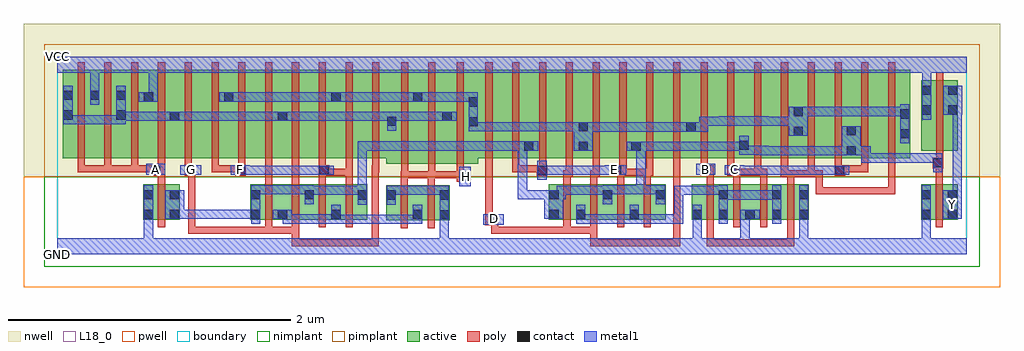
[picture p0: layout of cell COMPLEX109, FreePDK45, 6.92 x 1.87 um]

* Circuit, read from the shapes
.subckt COMPLEX109 A B C D E F G GND H VCC Y
M1 n1 A GND VSUBS nfet w=0.25u l=0.05u
M2 n2 G n1 VSUBS nfet w=0.25u l=0.05u m=2
M3 n2 F n1 VSUBS nfet w=0.25u l=0.05u m=2
M4 n2 H GND VSUBS nfet w=0.25u l=0.05u m=2
M5 n3 D n1 VSUBS nfet w=0.25u l=0.05u m=2
M6 n3 E n1 VSUBS nfet w=0.25u l=0.05u m=2
M7 n3 B GND VSUBS nfet w=0.25u l=0.05u m=2
M8 GND C n3 VSUBS nfet w=0.25u l=0.05u m=2
M9 Y n1 GND VSUBS nfet w=0.25u l=0.05u
M10 VCC A n4 n5 pfet w=0.625u l=0.05u m=4
M11 n6 G n4 n5 pfet w=0.625u l=0.05u
M12 n7 F n6 n5 pfet w=0.625u l=0.05u
M13 n8 F n7 n5 pfet w=0.625u l=0.05u
M14 n4 G n8 n5 pfet w=0.625u l=0.05u
M15 n9 G n4 n5 pfet w=0.625u l=0.05u
M16 n7 F n9 n5 pfet w=0.625u l=0.05u
M17 n10 F n7 n5 pfet w=0.625u l=0.05u
M18 n4 G n10 n5 pfet w=0.625u l=0.05u
M19 n7 H n4 n5 pfet w=0.667u l=0.05u m=3
M20 n11 D n7 n5 pfet w=0.625u l=0.05u
M21 n1 E n11 n5 pfet w=0.625u l=0.05u
M22 n12 E n1 n5 pfet w=0.625u l=0.05u
M23 n7 D n12 n5 pfet w=0.625u l=0.05u
M24 n13 D n7 n5 pfet w=0.625u l=0.05u
M25 n1 E n13 n5 pfet w=0.625u l=0.05u
M26 n14 E n1 n5 pfet w=0.625u l=0.05u
M27 n7 D n14 n5 pfet w=0.625u l=0.05u
M28 n15 B n7 n5 pfet w=0.625u l=0.05u
M29 n1 C n15 n5 pfet w=0.625u l=0.05u
M30 n16 C n1 n5 pfet w=0.625u l=0.05u
M31 n7 B n16 n5 pfet w=0.625u l=0.05u
M32 n17 B n7 n5 pfet w=0.625u l=0.05u
M33 n1 C n17 n5 pfet w=0.625u l=0.05u
M34 n18 C n1 n5 pfet w=0.625u l=0.05u
M35 n7 B n18 n5 pfet w=0.625u l=0.05u
M36 Y n1 VCC n5 pfet w=0.5u l=0.05u
.ends

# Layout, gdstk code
import gdstk
lib = gdstk.Library(unit=1e-6, precision=1e-09)
def R(c, l, rs):  # rectangles x0, y0, x1, y1
    for r in rs: c.add(gdstk.rectangle(r[:2], r[2:], *l))
def A(c, l, x, y, w, h, nx, ny, dx, dy):  # array of equal rectangles
    R(c, l, [(x+i*dx, y+j*dy, x+i*dx+w, y+j*dy+h) for i in range(nx) for j in range(ny)])
active = (1, 0)
pwell = (2, 0)
nwell = (3, 0)
nimplant = (4, 0)
pimplant = (5, 0)
poly = (9, 0)
contact = (10, 0)
metal1 = (11, 0)
L18_0 = (18, 0)
boundary = (235, 0)

complex109 = lib.new_cell('COMPLEX109')
A(complex109, active, 1.37, 0.245, 0.265, 0.25, 3, 1, 0.19, 0)
A(complex109, active, 3.485, 0.245, 0.265, 0.25, 3, 1, 0.19, 0)
A(complex109, active, 4.685, 0.245, 0.265, 0.25, 3, 1, 0.19, 0)
A(complex109, active, 1.025, 0.682, 0.23, 0.625, 3, 1, 0.38, 0)
A(complex109, active, 1.18, 0.682, 0.225, 0.625, 3, 1, 0.38, 0)
R(complex109, active, [(2.332,0.24,2.592,0.49), (2.517,0.24,2.782,0.49), (2.517,0.24,2.592,0.342), (2.707,0.24,2.782,0.49), (0.61,0.245,0.685,0.495), (0.61,0.245,0.87,0.495), (0.795,0.245,0.87,0.495), (1.37,0.245,1.445,0.495), (1.56,0.245,1.635,0.495), (1.75,0.245,1.825,0.46), (1.94,0.245,2.2,0.495), (1.94,0.245,2.015,0.467), (2.125,0.245,2.2,0.495), (2.332,0.245,2.407,0.49), (3.485,0.245,3.56,0.495), (3.675,0.245,3.75,0.387), (3.865,0.245,3.94,0.46), (4.055,0.245,4.315,0.495), (4.055,0.245,4.13,0.467), (4.24,0.245,4.315,0.495), (4.5,0.245,4.575,0.495), (4.5,0.245,4.76,0.495), (4.685,0.245,4.76,0.46), (4.875,0.245,4.95,0.467), (5.065,0.245,5.14,0.46), (5.255,0.245,5.33,0.495), (6.125,0.245,6.2,0.495), (6.125,0.245,6.385,0.495), (6.31,0.245,6.385,0.495), (2.335,0.64,2.595,1.307), (2.52,0.64,2.802,1.307), (2.52,0.64,2.595,1.2), (2.727,0.64,2.987,1.307), (2.727,0.64,2.802,1.07), (0.04,0.682,0.115,1.2), (0.04,0.682,0.305,1.307), (0.23,0.682,0.49,1.307), (0.23,0.682,0.305,1.307), (0.415,0.682,0.49,1.2), (0.415,0.682,0.685,1.307), (0.61,0.682,0.87,1.307), (0.61,0.682,0.685,1.307), (0.795,0.682,0.87,1.2), (0.795,0.682,1.025,1.307), (1.18,0.682,1.255,1.2), (1.56,0.682,1.635,1.07), (1.94,0.682,2.015,1.2), (2.165,0.682,2.41,1.307), (2.335,0.682,2.41,1.07), (2.912,0.682,2.987,1.2), (2.912,0.682,3.157,1.307), (3.157,0.682,3.382,1.307), (3.307,0.682,3.537,1.307), (3.307,0.682,3.382,1.07), (3.537,0.682,3.767,1.307), (3.692,0.682,3.767,1.2), (3.692,0.682,3.917,1.307), (3.917,0.682,4.142,1.307), (4.067,0.682,4.297,1.307), (4.067,0.682,4.142,1.07), (4.297,0.682,4.532,1.307), (4.457,0.682,4.532,1.2), (4.457,0.682,4.682,1.307), (4.682,0.682,4.907,1.307), (4.832,0.682,5.062,1.307), (4.832,0.682,4.907,1.07), (5.062,0.682,5.292,1.307), (5.217,0.682,5.292,1.2), (5.217,0.682,5.442,1.307), (5.442,0.682,5.667,1.307), (5.592,0.682,5.822,1.307), (5.592,0.682,5.667,1.07), (5.822,0.682,6.047,1.307), (5.972,0.682,6.047,1.2), (6.127,0.735,6.387,1.235), (6.127,0.735,6.202,1.235), (6.312,0.735,6.387,1.2)])
R(complex109, pwell, [(-0.235,-0.235,6.685,0.55)])
R(complex109, nwell, [(-0.235,0.55,6.685,1.635)])
R(complex109, nimplant, [(-0.09,-0.09,6.54,0.55)])
R(complex109, pimplant, [(-0.09,0.55,6.54,1.49)])
A(complex109, poly, 1.475, 0.19, 0.05, 0.36, 4, 1, 0.19, 0)
A(complex109, poly, 3.59, 0.19, 0.05, 0.36, 4, 1, 0.19, 0)
A(complex109, poly, 4.605, 0.19, 0.05, 0.36, 4, 1, 0.19, 0)
A(complex109, poly, 4.605, 0.5, 0.05, 0.107, 3, 1, 0.19, 0)
A(complex109, poly, 0.145, 0.582, 0.05, 0.095, 7, 1, 0.19, 0)
A(complex109, poly, 0.145, 0.627, 0.05, 0.735, 12, 1, 0.19, 0)
A(complex109, poly, 3.037, 0.627, 0.05, 0.735, 8, 1, 0.19, 0)
A(complex109, poly, 4.562, 0.627, 0.05, 0.735, 8, 1, 0.19, 0)
R(complex109, poly, [(1.665,0.057,1.715,0.107), (1.665,0.057,1.715,0.107), (1.665,0.057,1.847,0.107), (1.665,0.057,1.715,0.195), (1.797,0.057,1.847,0.107), (1.797,0.057,1.847,0.107), (1.797,0.057,1.847,0.107), (1.797,0.057,2.15,0.107), (2.1,0.057,2.15,0.107), (2.1,0.057,2.15,0.107), (2.1,0.057,2.15,0.107), (2.1,0.057,2.282,0.107), (2.232,0.057,2.282,0.107), (2.232,0.057,2.282,0.107), (2.232,0.057,2.282,0.107), (2.232,0.057,2.282,0.632), (3.78,0.057,4.077,0.107), (3.78,0.057,3.83,0.195), (4.027,0.057,4.077,0.107), (4.027,0.057,4.077,0.107), (4.027,0.057,4.077,0.107), (4.027,0.057,4.21,0.107), (4.16,0.057,4.21,0.107), (4.16,0.057,4.21,0.107), (4.16,0.057,4.21,0.107), (4.16,0.057,4.417,0.107), (4.367,0.057,4.417,0.107), (4.367,0.057,4.417,0.107), (4.367,0.057,4.417,0.107), (4.367,0.057,4.417,0.107), (4.367,0.057,4.417,0.107), (4.367,0.057,4.417,0.107), (4.367,0.057,4.417,0.107), (4.367,0.057,4.417,0.107), (4.367,0.057,4.417,0.107), (4.367,0.057,4.417,0.677), (4.605,0.057,4.655,0.107), (4.605,0.057,4.655,0.24), (4.605,0.057,4.86,0.107), (4.81,0.057,4.86,0.107), (4.81,0.057,4.86,0.107), (4.81,0.057,4.86,0.107), (4.81,0.057,4.992,0.107), (4.942,0.057,4.992,0.107), (4.942,0.057,4.992,0.107), (4.942,0.057,4.992,0.107), (4.942,0.057,5.225,0.107), (5.175,0.057,5.225,0.107), (5.175,0.057,5.225,0.107), (5.175,0.057,5.225,0.107), (5.175,0.057,5.225,0.24), (0.93,0.145,0.98,0.195), (0.93,0.145,0.98,0.195), (0.93,0.145,0.98,0.195), (0.93,0.145,0.98,0.195), (0.93,0.145,0.98,0.195), (0.93,0.145,1.112,0.195), (0.93,0.145,0.98,0.607), (1.062,0.145,1.112,0.195), (1.062,0.145,1.112,0.195), (1.062,0.145,1.112,0.195), (1.062,0.145,1.112,0.195), (1.062,0.145,1.112,0.195), (1.062,0.145,1.392,0.195), (1.342,0.145,1.392,0.195), (1.342,0.145,1.392,0.195), (1.342,0.145,1.392,0.195), (1.342,0.145,1.525,0.195), (1.475,0.145,1.525,0.24), (1.475,0.145,1.525,0.195), (1.475,0.145,1.525,0.195), (1.475,0.145,1.525,0.195), (1.475,0.145,1.715,0.195), (1.665,0.145,1.715,0.24), (3.077,0.145,3.127,0.195), (3.077,0.145,3.127,0.195), (3.077,0.145,3.127,0.195), (3.077,0.145,3.127,0.195), (3.077,0.145,3.127,0.195), (3.077,0.145,3.277,0.195), (3.077,0.145,3.127,0.255), (3.227,0.145,3.277,0.195), (3.227,0.145,3.277,0.195), (3.227,0.145,3.277,0.195), (3.227,0.145,3.277,0.195), (3.227,0.145,3.277,0.195), (3.227,0.145,3.41,0.195), (3.36,0.145,3.41,0.195), (3.36,0.145,3.64,0.195), (3.59,0.145,3.64,0.24), (3.59,0.145,3.64,0.195), (3.59,0.145,3.64,0.195), (3.59,0.145,3.64,0.195), (3.59,0.145,3.83,0.195), (3.78,0.145,3.83,0.24), (3.78,0.145,3.83,0.195), (3.78,0.145,3.83,0.195), (2.437,0.185,2.487,0.545), (2.627,0.185,2.677,0.545), (0.715,0.19,0.765,0.55), (6.23,0.19,6.28,0.55), (3.037,0.205,3.127,0.28), (3.037,0.23,3.087,0.677), (5.38,0.425,5.43,0.475), (5.38,0.425,5.43,0.475), (5.38,0.425,5.43,0.475), (5.38,0.425,5.62,0.475), (5.38,0.425,5.43,0.595), (5.57,0.425,5.62,0.475), (5.57,0.425,5.62,0.475), (5.57,0.425,5.62,0.475), (5.57,0.425,5.81,0.475), (5.76,0.425,5.81,0.475), (5.76,0.425,5.81,0.475), (5.76,0.425,5.81,0.475), (5.76,0.425,5.942,0.475), (5.892,0.425,5.942,0.677), (5.892,0.425,5.942,0.475), (5.892,0.425,5.942,0.475), (5.892,0.425,5.942,0.475), (5.892,0.425,5.942,0.475), (5.892,0.425,5.942,0.475), (5.892,0.425,5.942,0.475), (5.892,0.425,5.942,0.475), (2.437,0.495,2.487,0.59), (2.627,0.495,2.677,0.59), (0.715,0.5,0.765,0.607), (1.475,0.5,1.525,0.595), (1.665,0.5,1.715,0.595), (1.855,0.5,1.905,0.607), (2.045,0.5,2.095,0.607), (3.59,0.5,3.64,0.595), (3.78,0.5,3.83,0.595), (3.97,0.5,4.02,0.607), (4.16,0.5,4.21,0.607), (5.175,0.5,5.225,0.595), (6.23,0.5,6.28,0.66), (2.832,0.515,2.92,0.59), (2.437,0.54,2.49,0.59), (2.44,0.54,2.49,0.635), (2.44,0.54,2.677,0.59), (2.627,0.54,2.677,0.59), (2.627,0.54,2.677,0.59), (2.627,0.54,2.68,0.59), (2.63,0.54,2.68,0.635), (2.63,0.54,2.882,0.59), (2.832,0.54,2.882,0.635), (2.832,0.54,2.882,0.59), (2.832,0.54,2.882,0.59), (1.475,0.545,1.525,0.595), (1.475,0.545,1.525,0.677), (1.665,0.545,1.715,0.595), (1.665,0.545,1.715,0.677), (3.59,0.545,3.657,0.595), (3.607,0.545,3.657,0.677), (3.78,0.545,3.847,0.595), (3.797,0.545,3.847,0.677), (5.132,0.545,5.182,0.677), (5.132,0.545,5.225,0.595), (5.175,0.545,5.372,0.595), (5.322,0.545,5.372,0.595), (5.322,0.545,5.372,0.595), (5.322,0.545,5.372,0.677), (5.322,0.545,5.43,0.595), (0.662,0.557,0.765,0.632), (0.905,0.557,0.98,0.632), (1.262,0.557,1.337,0.632), (1.855,0.557,1.93,0.632), (1.88,0.557,1.93,0.607), (1.88,0.557,1.93,0.607), (1.88,0.557,2.095,0.607), (2.045,0.557,2.095,0.607), (2.045,0.557,2.095,0.677), (3.4,0.557,3.475,0.632), (3.93,0.557,4.037,0.632), (3.987,0.557,4.21,0.607), (4.16,0.557,4.21,0.607), (4.16,0.557,4.21,0.607), (4.16,0.557,4.227,0.607), (4.177,0.557,4.227,0.677), (4.562,0.557,4.655,0.632), (4.752,0.557,4.845,0.632), (4.795,0.557,4.992,0.607), (4.942,0.557,4.992,0.607), (4.942,0.557,4.992,0.607), (4.942,0.557,5.035,0.607), (4.942,0.557,4.992,0.677), (5.512,0.557,5.587,0.632), (0.145,0.582,0.195,0.632), (0.145,0.582,0.385,0.632), (0.335,0.582,0.385,0.632), (0.335,0.582,0.385,0.632), (0.335,0.582,0.385,0.632), (0.335,0.582,0.575,0.632), (0.525,0.582,0.575,0.632), (0.525,0.582,0.575,0.632), (0.525,0.582,0.575,0.632), (0.525,0.582,0.712,0.632), (0.662,0.582,0.712,0.632), (0.662,0.582,0.712,0.632), (1.095,0.582,1.145,0.632), (1.095,0.582,1.145,0.632), (1.095,0.582,1.145,0.632), (1.095,0.582,1.312,0.632), (1.855,0.582,1.905,0.677), (2.232,0.582,2.282,0.632), (2.232,0.582,2.282,0.632), (2.232,0.582,2.285,0.632), (2.235,0.582,2.285,0.677), (3.227,0.582,3.277,0.677), (3.227,0.582,3.277,0.632), (3.227,0.582,3.277,0.632), (3.227,0.582,3.277,0.632), (3.227,0.582,3.45,0.632), (3.417,0.582,3.467,0.677), (3.987,0.582,4.037,0.677), (4.562,0.582,4.612,0.677), (4.752,0.582,4.802,0.677), (5.512,0.582,5.562,0.677), (5.537,0.582,5.752,0.632), (5.702,0.582,5.752,0.677), (5.702,0.582,5.752,0.632), (5.702,0.582,5.752,0.632), (5.702,0.582,5.752,0.632), (2.44,0.585,2.49,1.362), (2.63,0.585,2.68,1.362), (2.832,0.585,2.882,1.362), (6.207,0.61,6.282,0.685), (6.232,0.635,6.282,0.73), (6.232,0.68,6.282,1.29)])
A(complex109, contact, 4.69, 0.25, 0.065, 0.065, 4, 1, 0.19, 0)
R(complex109, contact, [(3.057,0.21,3.122,0.275), (2.712,0.247,2.777,0.312), (0.615,0.25,0.68,0.315), (0.8,0.25,0.865,0.315), (1.375,0.25,1.44,0.315), (1.565,0.25,1.63,0.315), (1.945,0.25,2.01,0.315), (2.522,0.25,2.587,0.315), (3.49,0.25,3.555,0.315), (3.68,0.25,3.745,0.315), (4.505,0.25,4.57,0.315), (6.13,0.25,6.195,0.315), (6.315,0.25,6.38,0.315), (4.06,0.252,4.125,0.317), (2.13,0.387,2.195,0.452), (2.337,0.387,2.402,0.452), (2.712,0.387,2.777,0.452), (0.615,0.39,0.68,0.455), (0.8,0.39,0.865,0.455), (1.375,0.39,1.44,0.455), (1.755,0.39,1.82,0.455), (3.49,0.39,3.555,0.455), (3.87,0.39,3.935,0.455), (4.245,0.39,4.31,0.455), (4.69,0.39,4.755,0.455), (5.07,0.39,5.135,0.455), (5.26,0.39,5.325,0.455), (6.13,0.39,6.195,0.455), (6.315,0.39,6.38,0.455), (2.85,0.52,2.915,0.585), (0.667,0.562,0.732,0.627), (0.91,0.562,0.975,0.627), (1.267,0.562,1.332,0.627), (1.86,0.562,1.925,0.627), (3.405,0.562,3.47,0.627), (3.935,0.562,4,0.627), (4.567,0.562,4.632,0.627), (4.77,0.562,4.835,0.627), (5.517,0.562,5.582,0.627), (6.212,0.615,6.277,0.68), (5.597,0.702,5.662,0.767), (3.697,0.732,3.762,0.797), (4.072,0.732,4.137,0.797), (3.312,0.735,3.377,0.8), (4.837,0.74,4.902,0.805), (5.977,0.822,6.042,0.887), (5.222,0.84,5.287,0.905), (5.597,0.842,5.662,0.907), (4.462,0.87,4.527,0.935), (3.697,0.872,3.762,0.937), (2.917,0.907,2.982,0.972), (2.34,0.91,2.405,0.975), (0.8,0.945,0.865,1.01), (1.565,0.945,1.63,1.01), (2.732,0.945,2.797,1.01), (0.045,0.955,0.11,1.02), (0.42,0.955,0.485,1.02), (5.977,0.962,6.042,1.027), (5.222,0.98,5.287,1.045), (6.132,0.99,6.197,1.055), (6.317,0.99,6.382,1.055), (2.917,1.047,2.982,1.112), (0.615,1.082,0.68,1.147), (1.185,1.082,1.25,1.147), (1.945,1.082,2.01,1.147), (2.525,1.082,2.59,1.147), (0.045,1.095,0.11,1.16), (0.235,1.095,0.3,1.16), (0.42,1.095,0.485,1.16), (6.132,1.13,6.197,1.195), (6.317,1.13,6.382,1.195)])
R(complex109, metal1, [(0,0,6.45,0.115), (0.615,0.05,0.68,0.115), (0.615,0.05,0.68,0.115), (0.615,0.05,0.68,0.28), (2.712,0.05,2.777,0.115), (2.712,0.05,2.777,0.115), (2.712,0.05,2.777,0.277), (4.505,0.05,4.57,0.115), (4.505,0.05,4.57,0.115), (4.505,0.05,4.57,0.115), (4.505,0.05,4.57,0.115), (4.505,0.05,4.57,0.28), (4.845,0.05,4.91,0.115), (4.845,0.05,4.91,0.115), (4.845,0.05,4.91,0.115), (4.845,0.05,4.91,0.115), (4.845,0.05,4.91,0.315), (5.26,0.05,5.325,0.115), (5.26,0.05,5.325,0.115), (5.26,0.05,5.325,0.28), (6.13,0.05,6.195,0.28), (3.022,0.21,3.167,0.282), (2.712,0.212,2.777,0.277), (2.712,0.212,2.777,0.277), (2.712,0.212,2.777,0.487), (0.615,0.215,0.68,0.28), (0.615,0.215,0.68,0.28), (0.615,0.215,0.68,0.49), (1.375,0.215,1.44,0.49), (1.945,0.215,2.01,0.28), (1.945,0.215,2.01,0.28), (1.945,0.215,2.01,0.35), (1.945,0.215,2.265,0.28), (2.2,0.215,2.265,0.28), (2.2,0.215,2.265,0.28), (2.2,0.215,2.265,0.28), (2.2,0.215,2.402,0.28), (2.337,0.215,2.402,0.28), (2.337,0.215,2.402,0.28), (2.337,0.215,2.402,0.28), (2.337,0.215,2.587,0.28), (2.522,0.215,2.587,0.35), (3.68,0.215,3.745,0.35), (4.505,0.215,4.57,0.35), (4.69,0.215,4.755,0.49), (5.07,0.215,5.135,0.49), (5.26,0.215,5.325,0.28), (5.26,0.215,5.325,0.28), (5.26,0.215,5.325,0.49), (6.13,0.215,6.195,0.28), (6.13,0.215,6.195,0.28), (6.13,0.215,6.195,0.28), (6.13,0.215,6.195,0.28), (6.13,0.215,6.195,0.49), (1.6,0.217,1.837,0.282), (1.6,0.217,1.665,0.315), (1.772,0.217,1.837,0.282), (1.772,0.217,1.837,0.282), (1.772,0.217,1.837,0.282), (1.772,0.217,2.01,0.282), (3.68,0.217,3.745,0.282), (3.68,0.217,3.745,0.282), (3.68,0.217,3.965,0.282), (3.9,0.217,3.965,0.282), (3.9,0.217,3.965,0.282), (3.9,0.217,3.965,0.282), (3.9,0.217,4.125,0.282), (4.06,0.217,4.125,0.352), (4.06,0.217,4.172,0.282), (4.107,0.217,4.172,0.282), (4.107,0.217,4.355,0.282), (4.29,0.217,4.355,0.282), (4.29,0.217,4.44,0.282), (4.375,0.217,4.44,0.282), (4.375,0.217,4.44,0.487), (0.765,0.25,0.9,0.455), (0.835,0.25,0.9,0.315), (0.835,0.25,0.9,0.315), (0.835,0.25,1.077,0.315), (1.012,0.25,1.077,0.315), (1.012,0.25,1.077,0.315), (1.012,0.25,1.077,0.315), (1.012,0.25,1.215,0.315), (1.15,0.25,1.215,0.315), (1.15,0.25,1.215,0.315), (1.15,0.25,1.215,0.315), (1.15,0.25,1.44,0.315), (1.53,0.25,1.665,0.315), (1.6,0.25,1.665,0.315), (3.455,0.25,3.59,0.455), (4.845,0.25,4.98,0.315), (6.28,0.25,6.415,0.455), (2.13,0.352,2.195,0.487), (2.337,0.352,2.402,0.487), (1.755,0.355,1.82,0.49), (3.87,0.355,3.935,0.49), (4.245,0.355,4.31,0.49), (4.69,0.387,4.91,0.452), (4.845,0.387,4.91,0.452), (4.845,0.387,4.91,0.452), (4.845,0.387,4.91,0.452), (4.845,0.387,5.047,0.452), (4.982,0.387,5.047,0.452), (4.982,0.387,5.135,0.452), (3.267,0.39,3.332,0.455), (3.267,0.39,3.332,0.455), (3.267,0.39,3.332,0.455), (3.267,0.39,3.52,0.455), (3.267,0.39,3.332,0.8), (3.525,0.39,3.607,0.455), (3.542,0.39,3.607,0.487), (6.35,0.39,6.415,1.055), (1.755,0.422,1.82,0.487), (1.755,0.422,1.82,0.487), (1.755,0.422,2.057,0.487), (1.992,0.422,2.057,0.487), (1.992,0.422,2.057,0.487), (1.992,0.422,2.057,0.487), (1.992,0.422,2.195,0.487), (2.13,0.422,2.195,0.8), (2.337,0.422,2.402,0.487), (2.337,0.422,2.402,0.487), (2.337,0.422,2.625,0.487), (2.56,0.422,2.625,0.487), (2.56,0.422,2.625,0.487), (2.56,0.422,2.625,0.487), (2.56,0.422,2.777,0.487), (2.712,0.422,2.777,0.487), (2.712,0.422,2.777,0.487), (3.542,0.422,3.745,0.487), (3.68,0.422,3.745,0.487), (3.68,0.422,3.745,0.487), (3.68,0.422,3.745,0.487), (3.68,0.422,3.935,0.487), (4.375,0.422,4.44,0.487), (4.375,0.422,4.617,0.487), (4.552,0.422,4.617,0.487), (4.552,0.422,4.617,0.487), (4.552,0.422,4.617,0.487), (4.552,0.422,4.755,0.487), (1.375,0.425,1.44,0.49), (1.375,0.425,1.44,0.49), (1.375,0.425,1.522,0.49), (1.457,0.425,1.522,0.49), (1.457,0.425,1.665,0.49), (1.6,0.425,1.665,0.49), (1.6,0.425,1.665,0.49), (1.6,0.425,1.665,0.49), (1.6,0.425,1.82,0.49), (3.87,0.425,3.935,0.49), (3.87,0.425,3.935,0.49), (3.87,0.425,4.172,0.49), (4.107,0.425,4.172,0.49), (4.107,0.425,4.172,0.49), (4.107,0.425,4.172,0.49), (4.107,0.425,4.31,0.49), (4.107,0.425,4.172,0.797), (2.85,0.482,2.932,0.62), (3.405,0.527,3.47,0.662), (0.632,0.562,0.767,0.64), (0.872,0.562,1.02,0.632), (1.232,0.562,1.367,0.632), (1.302,0.562,1.422,0.627), (1.357,0.562,1.422,0.627), (1.357,0.562,1.527,0.627), (1.462,0.562,1.527,0.627), (1.462,0.562,1.665,0.627), (1.6,0.562,1.665,0.627), (1.6,0.562,1.665,0.627), (1.6,0.562,1.665,0.627), (1.6,0.562,1.837,0.627), (1.772,0.562,1.837,0.627), (1.772,0.562,1.89,0.627), (1.825,0.562,1.96,0.627), (3.405,0.562,3.47,0.627), (3.405,0.562,3.47,0.627), (3.405,0.562,3.607,0.627), (3.542,0.562,3.607,0.627), (3.542,0.562,3.745,0.627), (3.68,0.562,3.745,0.627), (3.68,0.562,3.745,0.627), (3.68,0.562,3.745,0.627), (3.68,0.562,3.947,0.627), (3.882,0.562,3.947,0.627), (3.882,0.562,3.947,0.627), (3.882,0.562,4.035,0.632), (4.532,0.562,4.667,0.64), (4.732,0.562,4.87,0.632), (4.805,0.562,4.892,0.627), (4.827,0.562,4.892,0.627), (4.827,0.562,5.047,0.627), (4.982,0.562,5.047,0.627), (4.982,0.562,5.047,0.627), (4.982,0.562,5.047,0.627), (4.982,0.562,5.185,0.627), (5.12,0.562,5.185,0.627), (5.12,0.562,5.322,0.627), (5.257,0.562,5.322,0.627), (5.257,0.562,5.322,0.627), (5.257,0.562,5.322,0.627), (5.257,0.562,5.46,0.627), (5.395,0.562,5.46,0.627), (5.395,0.562,5.547,0.627), (5.482,0.562,5.617,0.627), (6.212,0.58,6.277,0.715), (5.702,0.65,5.905,0.715), (5.702,0.65,5.767,0.767), (5.84,0.65,5.905,0.715), (5.84,0.65,5.905,0.715), (5.84,0.65,5.905,0.715), (5.84,0.65,6.14,0.715), (6.075,0.65,6.14,0.715), (6.075,0.65,6.14,0.715), (6.075,0.65,6.14,0.715), (6.075,0.65,6.14,0.715), (6.075,0.65,6.14,0.715), (6.075,0.65,6.14,0.715), (6.075,0.65,6.14,0.715), (6.075,0.65,6.277,0.715), (4.982,0.702,5.047,0.767), (4.982,0.702,5.047,0.767), (4.982,0.702,5.185,0.767), (4.982,0.702,5.047,0.77), (5.12,0.702,5.185,0.767), (5.12,0.702,5.322,0.767), (5.257,0.702,5.322,0.767), (5.257,0.702,5.322,0.767), (5.257,0.702,5.322,0.767), (5.257,0.702,5.46,0.767), (5.395,0.702,5.46,0.767), (5.395,0.702,5.46,0.767), (5.395,0.702,5.46,0.767), (5.395,0.702,5.627,0.767), (5.562,0.702,5.697,0.907), (5.632,0.702,5.767,0.767), (4.837,0.705,4.902,0.84), (4.837,0.705,5.047,0.77), (3.662,0.732,3.797,0.937), (4.037,0.732,4.172,0.797), (4.107,0.732,4.172,0.797), (4.107,0.732,4.172,0.797), (4.107,0.732,4.172,0.797), (4.107,0.732,4.172,0.797), (4.107,0.732,4.172,0.797), (4.107,0.732,4.172,0.797), (4.107,0.732,4.31,0.797), (4.245,0.732,4.31,0.797), (4.245,0.732,4.31,0.797), (4.245,0.732,4.31,0.797), (4.245,0.732,4.577,0.797), (4.512,0.732,4.577,0.797), (4.512,0.732,4.577,0.797), (4.512,0.732,4.577,0.797), (4.512,0.732,4.755,0.797), (4.69,0.732,4.755,0.797), (4.69,0.732,4.755,0.797), (4.69,0.732,4.755,0.797), (4.69,0.732,4.902,0.797), (2.13,0.735,2.195,0.8), (2.13,0.735,2.195,0.8), (2.13,0.735,2.195,0.8), (2.13,0.735,2.402,0.8), (2.337,0.735,2.402,0.8), (2.337,0.735,2.402,0.8), (2.337,0.735,2.402,0.8), (2.337,0.735,2.625,0.8), (2.56,0.735,2.625,0.8), (2.56,0.735,2.625,0.8), (2.56,0.735,2.625,0.8), (2.56,0.735,2.777,0.8), (2.712,0.735,2.777,0.8), (2.712,0.735,2.777,0.8), (2.712,0.735,2.777,0.8), (2.712,0.735,2.777,0.8), (2.712,0.735,2.777,0.8), (2.712,0.735,2.982,0.8), (2.917,0.735,2.982,0.8), (2.917,0.735,2.982,0.8), (2.917,0.735,2.982,0.8), (2.917,0.735,3.12,0.8), (3.055,0.735,3.12,0.8), (3.055,0.735,3.12,0.8), (3.055,0.735,3.12,0.8), (3.055,0.735,3.332,0.8), (3.267,0.735,3.332,0.8), (3.267,0.735,3.332,0.8), (3.267,0.735,3.412,0.8), (5.977,0.787,6.042,1.062), (5.187,0.84,5.322,1.045), (3.732,0.87,3.797,0.935), (3.732,0.87,3.797,0.935), (3.732,0.87,3.965,0.935), (3.9,0.87,3.965,0.935), (3.9,0.87,3.965,0.935), (3.9,0.87,3.965,0.935), (3.9,0.87,4.172,0.935), (4.107,0.87,4.172,0.935), (4.107,0.87,4.172,0.935), (4.107,0.87,4.172,0.935), (4.107,0.87,4.355,0.935), (4.29,0.87,4.355,0.935), (4.29,0.87,4.355,0.935), (4.29,0.87,4.355,0.935), (4.29,0.87,4.492,0.935), (4.427,0.87,4.562,0.935), (4.497,0.87,4.617,0.935), (4.552,0.87,4.617,0.975), (2.917,0.872,2.982,0.937), (2.917,0.872,2.982,0.937), (2.917,0.872,2.982,1.147), (2.917,0.872,3.142,0.937), (3.077,0.872,3.142,0.937), (3.077,0.872,3.142,0.937), (3.077,0.872,3.142,0.937), (3.077,0.872,3.332,0.937), (3.267,0.872,3.332,0.937), (3.267,0.872,3.332,0.937), (3.267,0.872,3.332,0.937), (3.267,0.872,3.59,0.937), (3.525,0.872,3.59,0.937), (3.525,0.872,3.607,0.937), (3.542,0.872,3.607,0.937), (3.542,0.872,3.727,0.937), (2.34,0.875,2.405,1.01), (4.552,0.91,4.755,0.975), (4.69,0.91,4.755,0.977), (4.982,0.91,5.047,0.975), (4.982,0.91,5.047,0.975), (4.982,0.91,5.185,0.975), (4.982,0.91,5.047,0.977), (5.12,0.91,5.185,0.975), (5.12,0.91,5.252,0.975), (4.69,0.912,4.91,0.977), (4.845,0.912,4.91,0.977), (4.845,0.912,4.91,0.977), (4.845,0.912,4.91,0.977), (4.845,0.912,5.047,0.977), (0.045,0.92,0.11,0.985), (0.045,0.92,0.11,0.985), (0.045,0.92,0.11,1.195), (0.045,0.92,0.347,0.985), (0.282,0.92,0.347,0.985), (0.282,0.92,0.347,0.985), (0.282,0.92,0.347,0.985), (0.282,0.92,0.485,0.985), (0.42,0.92,0.485,1.195), (0.42,0.945,0.485,1.01), (0.42,0.945,0.485,1.01), (0.42,0.945,0.692,1.01), (0.627,0.945,0.692,1.01), (0.627,0.945,0.692,1.01), (0.627,0.945,0.692,1.01), (0.627,0.945,0.83,1.01), (0.765,0.945,0.9,1.01), (0.835,0.945,0.9,1.01), (0.835,0.945,0.9,1.01), (0.835,0.945,0.9,1.01), (0.835,0.945,0.9,1.01), (0.835,0.945,1.037,1.01), (0.972,0.945,1.037,1.01), (0.972,0.945,1.037,1.01), (0.972,0.945,1.037,1.01), (0.972,0.945,1.285,1.01), (1.22,0.945,1.285,1.01), (1.22,0.945,1.285,1.01), (1.22,0.945,1.285,1.01), (1.22,0.945,1.457,1.01), (1.392,0.945,1.457,1.01), (1.392,0.945,1.505,1.01), (1.44,0.945,1.505,1.01), (1.44,0.945,1.595,1.01), (1.53,0.945,1.665,1.01), (1.6,0.945,1.665,1.01), (1.6,0.945,1.665,1.01), (1.6,0.945,1.837,1.01), (1.772,0.945,1.837,1.01), (1.772,0.945,1.837,1.01), (1.772,0.945,1.837,1.01), (1.772,0.945,1.975,1.01), (1.91,0.945,1.975,1.01), (1.91,0.945,1.975,1.01), (1.91,0.945,1.975,1.01), (1.91,0.945,2.265,1.01), (2.2,0.945,2.265,1.01), (2.2,0.945,2.265,1.01), (2.2,0.945,2.265,1.01), (2.2,0.945,2.405,1.01), (2.34,0.945,2.405,1.01), (2.34,0.945,2.405,1.01), (2.34,0.945,2.625,1.01), (2.56,0.945,2.625,1.01), (2.56,0.945,2.625,1.01), (2.56,0.945,2.625,1.01), (2.56,0.945,2.762,1.01), (2.697,0.945,2.832,1.01), (6.132,0.955,6.197,1.23), (5.257,0.98,5.322,1.045), (5.257,0.98,5.322,1.045), (5.257,0.98,5.46,1.045), (5.395,0.98,5.46,1.045), (5.395,0.98,5.46,1.045), (5.395,0.98,5.46,1.045), (5.395,0.98,5.597,1.045), (5.532,0.98,5.597,1.045), (5.532,0.98,5.597,1.045), (5.532,0.98,5.597,1.045), (5.532,0.98,5.905,1.045), (5.84,0.98,5.905,1.045), (5.84,0.98,5.905,1.045), (5.84,0.98,5.905,1.045), (5.84,0.98,6.042,1.045), (6.282,0.99,6.417,1.195), (6.35,0.99,6.415,1.055), (6.35,0.99,6.415,1.055), (0.235,1.06,0.3,1.195), (0.58,1.082,0.715,1.147), (0.65,1.082,0.715,1.35), (1.15,1.082,1.285,1.147), (1.22,1.082,1.285,1.147), (1.22,1.082,1.285,1.147), (1.22,1.082,1.457,1.147), (1.392,1.082,1.457,1.147), (1.392,1.082,1.527,1.147), (1.462,1.082,1.527,1.147), (1.462,1.082,1.665,1.147), (1.6,1.082,1.665,1.147), (1.6,1.082,1.665,1.147), (1.6,1.082,1.665,1.147), (1.6,1.082,1.837,1.147), (1.772,1.082,1.837,1.147), (1.772,1.082,1.837,1.147), (1.772,1.082,1.837,1.147), (1.772,1.082,1.975,1.147), (1.91,1.082,2.045,1.147), (1.98,1.082,2.045,1.147), (1.98,1.082,2.045,1.147), (1.98,1.082,2.265,1.147), (2.2,1.082,2.265,1.147), (2.2,1.082,2.265,1.147), (2.2,1.082,2.265,1.147), (2.2,1.082,2.402,1.147), (2.337,1.082,2.402,1.147), (2.337,1.082,2.402,1.147), (2.337,1.082,2.402,1.147), (2.337,1.082,2.555,1.147), (2.49,1.082,2.625,1.147), (2.56,1.082,2.625,1.147), (2.56,1.082,2.625,1.147), (2.56,1.082,2.845,1.147), (2.78,1.082,2.845,1.147), (2.78,1.082,2.845,1.147), (2.78,1.082,2.845,1.147), (2.78,1.082,2.982,1.147), (0.235,1.13,0.3,1.35), (6.132,1.165,6.197,1.23), (6.132,1.165,6.197,1.23), (6.132,1.165,6.197,1.35), (0,1.285,6.45,1.4)])
R(complex109, L18_0, [(0,0,6.45,0.115), (0.615,0.05,0.68,0.115), (0.615,0.05,0.68,0.115), (0.615,0.05,0.68,0.28), (2.712,0.05,2.777,0.115), (2.712,0.05,2.777,0.115), (2.712,0.05,2.777,0.277), (4.505,0.05,4.57,0.115), (4.505,0.05,4.57,0.115), (4.505,0.05,4.57,0.115), (4.505,0.05,4.57,0.115), (4.505,0.05,4.57,0.28), (4.845,0.05,4.91,0.115), (4.845,0.05,4.91,0.115), (4.845,0.05,4.91,0.115), (4.845,0.05,4.91,0.115), (4.845,0.05,4.91,0.315), (5.26,0.05,5.325,0.115), (5.26,0.05,5.325,0.115), (5.26,0.05,5.325,0.28), (6.13,0.05,6.195,0.28), (3.022,0.21,3.167,0.282), (2.712,0.212,2.777,0.277), (2.712,0.212,2.777,0.277), (2.712,0.212,2.777,0.487), (0.615,0.215,0.68,0.28), (0.615,0.215,0.68,0.28), (0.615,0.215,0.68,0.49), (4.505,0.215,4.57,0.35), (5.26,0.215,5.325,0.28), (5.26,0.215,5.325,0.28), (5.26,0.215,5.325,0.49), (6.13,0.215,6.195,0.28), (6.13,0.215,6.195,0.28), (6.13,0.215,6.195,0.28), (6.13,0.215,6.195,0.28), (6.13,0.215,6.195,0.49), (3.067,0.217,3.132,0.282), (4.845,0.25,4.98,0.315), (6.28,0.25,6.415,0.455), (6.317,0.317,6.382,0.382), (2.337,0.352,2.402,0.487), (6.35,0.39,6.415,1.055), (2.337,0.422,2.402,0.487), (2.337,0.422,2.402,0.487), (2.337,0.422,2.625,0.487), (2.56,0.422,2.625,0.487), (2.56,0.422,2.625,0.487), (2.56,0.422,2.625,0.487), (2.56,0.422,2.777,0.487), (2.712,0.422,2.777,0.487), (2.712,0.422,2.777,0.487), (2.85,0.482,2.932,0.62), (2.867,0.517,2.932,0.582), (3.405,0.527,3.47,0.662), (0.632,0.562,0.767,0.64), (0.872,0.562,1.02,0.632), (1.232,0.562,1.367,0.632), (1.302,0.562,1.422,0.627), (1.357,0.562,1.422,0.627), (1.357,0.562,1.527,0.627), (1.462,0.562,1.527,0.627), (1.462,0.562,1.665,0.627), (1.6,0.562,1.665,0.627), (1.6,0.562,1.665,0.627), (1.6,0.562,1.665,0.627), (1.6,0.562,1.837,0.627), (1.772,0.562,1.837,0.627), (1.772,0.562,1.89,0.627), (1.825,0.562,1.96,0.627), (3.405,0.562,3.47,0.627), (3.405,0.562,3.47,0.627), (3.405,0.562,3.607,0.627), (3.542,0.562,3.607,0.627), (3.542,0.562,3.745,0.627), (3.68,0.562,3.745,0.627), (3.68,0.562,3.745,0.627), (3.68,0.562,3.745,0.627), (3.68,0.562,3.947,0.627), (3.882,0.562,3.947,0.627), (3.882,0.562,3.947,0.627), (3.882,0.562,4.035,0.632), (4.532,0.562,4.667,0.64), (4.732,0.562,4.87,0.632), (4.805,0.562,4.892,0.627), (4.827,0.562,4.892,0.627), (4.827,0.562,5.047,0.627), (4.982,0.562,5.047,0.627), (4.982,0.562,5.047,0.627), (4.982,0.562,5.047,0.627), (4.982,0.562,5.185,0.627), (5.12,0.562,5.185,0.627), (5.12,0.562,5.322,0.627), (5.257,0.562,5.322,0.627), (5.257,0.562,5.322,0.627), (5.257,0.562,5.322,0.627), (5.257,0.562,5.46,0.627), (5.395,0.562,5.46,0.627), (5.395,0.562,5.547,0.627), (5.482,0.562,5.617,0.627), (0.667,0.567,0.732,0.632), (0.917,0.567,0.982,0.632), (1.267,0.567,1.332,0.632), (3.917,0.567,3.982,0.632), (4.567,0.567,4.632,0.632), (4.767,0.567,4.832,0.632), (6.132,0.955,6.197,1.23), (6.282,0.99,6.417,1.195), (6.35,0.99,6.415,1.055), (6.35,0.99,6.415,1.055), (0.235,1.06,0.3,1.195), (0.58,1.082,0.715,1.147), (0.65,1.082,0.715,1.35), (0.235,1.13,0.3,1.35), (6.132,1.165,6.197,1.23), (6.132,1.165,6.197,1.23), (6.132,1.165,6.197,1.35), (0,1.285,6.45,1.4)])
R(complex109, boundary, [(0,0,6.45,1.4)])
complex109.add(gdstk.Label('A', (0.7,0.6), layer=11, texttype=0))
complex109.add(gdstk.Label('B', (4.6,0.6), layer=11, texttype=0))
complex109.add(gdstk.Label('C', (4.8,0.6), layer=11, texttype=0))
complex109.add(gdstk.Label('D', (3.1,0.25), layer=11, texttype=0))
complex109.add(gdstk.Label('E', (3.95,0.6), layer=11, texttype=0))
complex109.add(gdstk.Label('F', (1.3,0.6), layer=11, texttype=0))
complex109.add(gdstk.Label('G', (0.95,0.6), layer=11, texttype=0))
complex109.add(gdstk.Label('H', (2.9,0.55), layer=11, texttype=0))
complex109.add(gdstk.Label('Y', (6.35,0.35), layer=11, texttype=0))
complex109.add(gdstk.Label('VCC', (0,1.4), layer=11, texttype=0))
complex109.add(gdstk.Label('GND', (0,0), layer=11, texttype=0))

lib.write_gds('COMPLEX109.gds')
